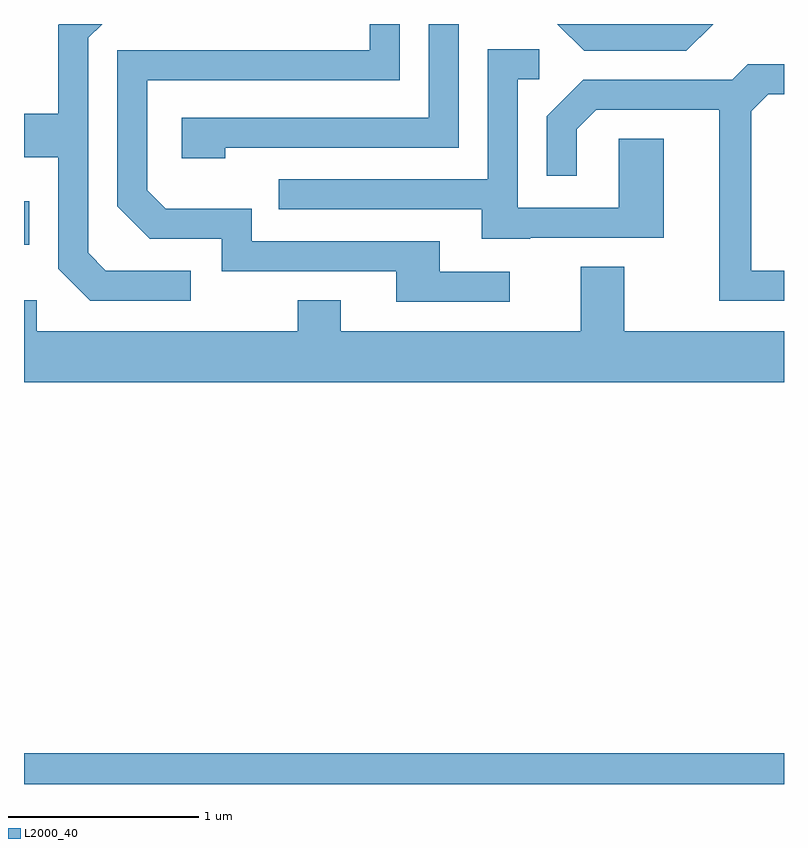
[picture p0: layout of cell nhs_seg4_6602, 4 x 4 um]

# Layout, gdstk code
import gdstk
lib = gdstk.Library(unit=1e-6, precision=1e-09)
def R(c, l, rs):  # rectangles x0, y0, x1, y1
    for r in rs: c.add(gdstk.rectangle(r[:2], r[2:], *l))
def P(c, l, *ps):  # polygons
    for p in ps: c.add(gdstk.Polygon(p, *l))
L2000_40 = (2000, 40)

nhs_seg4_6602 = lib.new_cell('nhs_seg4_6602')
R(nhs_seg4_6602, L2000_40, [(379.611,1265.982,383.611,1266.144), (379.611,1268.821,379.639,1269.049)])
P(nhs_seg4_6602, L2000_40, [(380.488,1268.684),(380.042,1268.684),(379.949,1268.777),(379.949,1269.909),(380.023,1269.982),(379.796,1269.982),(379.791,1269.977),(379.791,1269.509),(379.611,1269.509),(379.611,1269.281),(379.791,1269.281),(379.791,1268.694),(379.959,1268.526),(380.488,1268.526)],
  [(382.168,1268.679),(381.799,1268.679),(381.799,1268.839),(380.809,1268.839),(380.809,1269.009),(380.357,1269.009),(380.259,1269.107),(380.259,1269.686),(381.589,1269.686),(381.589,1269.982),(381.431,1269.982),(381.431,1269.844),(380.101,1269.844),(380.101,1269.024),(380.274,1268.851),(380.651,1268.851),(380.651,1268.681),(381.571,1268.681),(381.571,1268.521),(382.168,1268.521)],
  [(380.669,1269.331),(381.899,1269.331),(381.899,1269.982),(381.741,1269.982),(381.741,1269.489),(380.441,1269.489),(380.441,1269.276),(380.669,1269.276)],
  [(383.238,1269.982),(382.418,1269.982),(382.559,1269.841),(383.097,1269.841)],
  [(382.275,1268.856),(382.979,1268.856),(382.979,1269.379),(382.741,1269.379),(382.741,1269.014),(382.209,1269.014),(382.209,1269.691),(382.323,1269.691),(382.323,1269.849),(382.051,1269.849),(382.051,1269.164),(380.953,1269.164),(380.953,1269.006),(382.021,1269.006),(382.021,1268.851),(382.275,1268.851)],
  [(383.611,1268.684),(383.439,1268.684),(383.439,1269.524),(383.527,1269.611),(383.611,1269.611),(383.611,1269.769),(383.419,1269.769),(383.339,1269.689),(382.554,1269.689),(382.361,1269.497),(382.361,1269.183),(382.519,1269.183),(382.519,1269.429),(382.622,1269.531),(383.271,1269.531),(383.271,1268.526),(383.611,1268.526)],
  [(383.611,1268.364),(382.769,1268.364),(382.769,1268.704),(382.541,1268.704),(382.541,1268.364),(381.279,1268.364),(381.279,1268.529),(381.051,1268.529),(381.051,1268.364),(379.679,1268.364),(379.679,1268.529),(379.611,1268.529),(379.611,1268.096),(383.611,1268.096)])

lib.write_gds('nhs_seg4_6602.gds')
